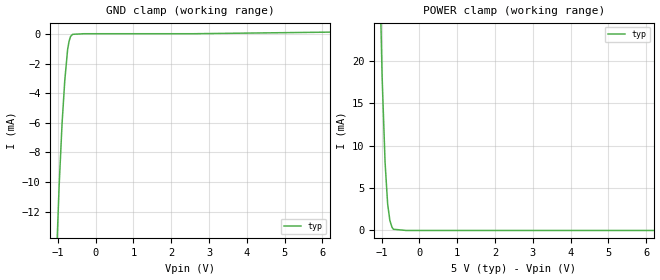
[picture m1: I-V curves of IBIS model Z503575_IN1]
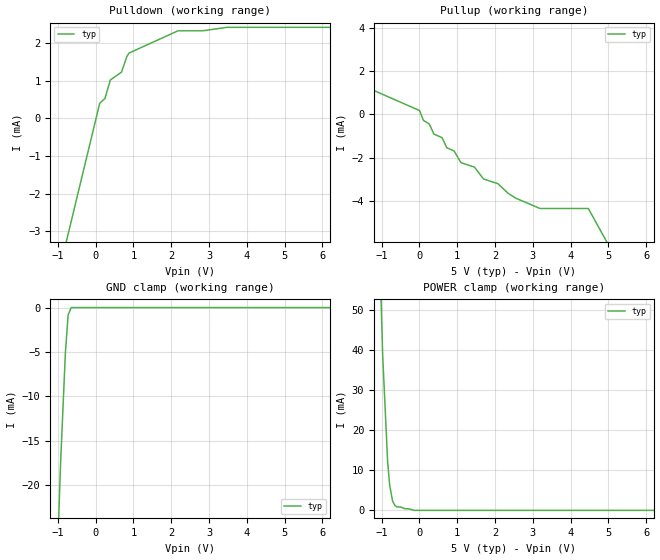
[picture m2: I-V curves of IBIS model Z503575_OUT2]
| YOU ARE ONLY AUTHORIZED TO USE THIS SOFTWARE
| ACCORDING TO LICENSOR'S LICENSE RESTRICTIONS.
[IBIS Ver] 3.1
[File Name] mc14081bd.ibs
[File Rev] 2.0
[Source] Measured and created by ICX Technology
[Date] Friday 7/14/00 9:07:53 AM
[Copyright]
| (C) COPYRIGHT 1993-2000
| MENTOR GRAPHICS CORPORATION
| ICX STANDARD LIBRARY, ICX PROJECT MODELING,
| ICX CUSTOM MODELING, ICX VENDOR MODEL
| ALL RIGHTS RESERVED.
| THE FOLLOWING ARE TRADEMARKS OR SERVICE MARKS OF
| MENTOR GRAPHICS CORPORATION:ICX (R), ICX STANDARD
| LIBRARY(R), ICX PROJECT MODELING(R), ICX CUSTOM
| MODELING(R), qualityIBIS(TM), MODELVIEWER(TM),
| AND MODELEDITOR(TM)
| ALL COPIES OF SOFTWARE, INCLUDING BUT NOT LIMITED TO
| ANY MODIFICATIONS, ENHANCEMENTS OR DERIVATIVE WORKS,
| MUST CONTAIN ALL MENTOR GRAPHICS CORPORATION'S
| NOTICES AND LEGENDS, INCLUDING THOSE EMBEDDED IN
| SOFTWARE AND THOSE AFFIXED TO SOFTWARE MEDIUM
| AND CONTAINER, AS RECEIVED FROM MENTOR GRAPHICS
| CORPORATION.
|  ZAP Model Builder 2.7
[Component] MC14081BD
[Manufacturer] OnSemiconductor
[Package]
| variable   typ   min   max
R_pkg  .155ohms NA NA
L_pkg  3.028nH NA NA
C_pkg  .381pF NA NA
[Pin] signal_name  model_name  R_pin  L_pin C_pin
1 IN1A Z503575_IN1 .16 3.587n .407p
2 IN2A Z503575_IN1 .156 3.147n .387p
3 OUTA Z503575_OUT2 .152 2.717n .367p
4 OUTB Z503575_OUT2 .148 2.297n .347p
5 IN1B Z503575_IN1 .152 2.717n .367p
6 IN2B Z503575_IN1 .156 3.147n .387p
7 VSS POWER .16 3.587n .407p
8 IN1C Z503575_IN1 .16 3.587n .407p
9 IN2C Z503575_IN1 .156 3.147n .387p
10 OUTC Z503575_OUT2 .152 2.717n .367p
11 OUTD Z503575_OUT2 .148 2.297n .347p
12 IN1D Z503575_IN1 .152 2.717n .367p
13 IN2D Z503575_IN1 .156 3.147n .387p
14 VDD POWER .16 3.587n .407p
| Models and submodels in the file (2): Z503575_IN1 (Input), Z503575_OUT2 (Output)
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| (C) COPYRIGHT 1993-2000
| MENTOR GRAPHICS CORPORATION
| ICX STANDARD LIBRARY, ICX PROJECT MODELING,
| ICX CUSTOM MODELING, ICX VENDOR MODEL
| ALL RIGHTS RESERVED.
| THE FOLLOWING ARE TRADEMARKS OR SERVICE MARKS OF
| MENTOR GRAPHICS CORPORATION:ICX (R), ICX STANDARD
| LIBRARY(R), ICX PROJECT MODELING(R), ICX CUSTOM
| MODELING(R), qualityIBIS(TM), MODELVIEWER(TM),
| AND MODELEDITOR(TM)
| ALL COPIES OF SOFTWARE, INCLUDING BUT NOT LIMITED TO
| ANY MODIFICATIONS, ENHANCEMENTS OR DERIVATIVE WORKS,
| MUST CONTAIN ALL MENTOR GRAPHICS CORPORATION'S
| NOTICES AND LEGENDS, INCLUDING THOSE EMBEDDED IN
| SOFTWARE AND THOSE AFFIXED TO SOFTWARE MEDIUM
| AND CONTAINER, AS RECEIVED FROM MENTOR GRAPHICS
| CORPORATION.
| Model Application Version 1.89 2/18/99.
[Model] Z503575_IN1
Model_type Input
Vinl = 1.500V
Vinh = 3.500V
C_comp 4.000pF NA NA
| variable typ   min   max
[Voltage Range] 5.000V NA NA
[GND Clamp Reference] 0.000V NA NA
[POWER Clamp Reference] 5.000V NA NA
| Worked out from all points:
|   GND clamp passes 1 mA (typ) near -0.74 V on its own axis
|   POWER clamp passes 1 mA (typ) near -0.77 V on its own axis
[GND Clamp]
-5V       -395.3mA   NA         NA
-1.094V   -19.11mA   NA         NA
-964.7mV  -10.21mA   NA         NA
-888.7mV  -6.068mA   NA         NA
-816.1mV  -3.133mA   NA         NA
-741.7mV  -1.056mA   NA         NA
-703.1mV  -495.8uA   NA         NA
-664.4mV  -176.1uA   NA         NA
-610.4mV  -25.19uA   NA         NA
-305.2mV  14.72uA    NA         NA
2.572V    14.72uA    NA         NA
10V       236.4uA    NA         NA
[POWER Clamp]
-5V       812.6mA    NA         NA
-986mV    18.16mA    NA         NA
-908mV    8.057mA    NA         NA
-840mV    3.131mA    NA         NA
-781mV    1.179mA    NA         NA
-726mV    398.9uA    NA         NA
-689mV    142.8uA    NA         NA
-344.5mV  0A         NA         NA
10V       0A         NA         NA
| (C) COPYRIGHT 1993-2000
| MENTOR GRAPHICS CORPORATION
| ICX STANDARD LIBRARY, ICX PROJECT MODELING,
| ICX CUSTOM MODELING, ICX VENDOR MODEL
| ALL RIGHTS RESERVED.
| THE FOLLOWING ARE TRADEMARKS OR SERVICE MARKS OF
| MENTOR GRAPHICS CORPORATION:ICX (R), ICX STANDARD
| LIBRARY(R), ICX PROJECT MODELING(R), ICX CUSTOM
| MODELING(R), qualityIBIS(TM), MODELVIEWER(TM),
| AND MODELEDITOR(TM)
| ALL COPIES OF SOFTWARE, INCLUDING BUT NOT LIMITED TO
| ANY MODIFICATIONS, ENHANCEMENTS OR DERIVATIVE WORKS,
| MUST CONTAIN ALL MENTOR GRAPHICS CORPORATION'S
| NOTICES AND LEGENDS, INCLUDING THOSE EMBEDDED IN
| SOFTWARE AND THOSE AFFIXED TO SOFTWARE MEDIUM
| AND CONTAINER, AS RECEIVED FROM MENTOR GRAPHICS
| CORPORATION.
| Model Application Version 1.89 2/18/99.
[Model] Z503575_OUT2
Model_type Output
Vref=0.000V
Rref=500.0Mohms
Cref=50.00pF
Vmeas=2.500V
C_comp 8.000pF NA NA
| variable typ   min   max
[Voltage Range] 5.000V NA NA
[POWER Clamp Reference] 5.000V NA NA
[Pullup Reference] 5.000V NA NA
[Pulldown Reference] 0.000V NA NA
[GND Clamp Reference] 0.000V NA NA
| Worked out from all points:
|   slope of the pulldown table from 0 to 0.75 V, typ, clamps not added: 510 ohm
|   slope of the pullup table from 0 to 0.75 V, typ, clamps not added: 432 ohm
|   GND clamp passes 1 mA (typ) near -0.73 V on its own axis
|   POWER clamp passes 1 mA (typ) near -0.61 V on its own axis
[GND Clamp]
-5V       -691mA     NA         NA
-1.103V   -39.29mA   NA         NA
-927.6mV  -17.55mA   NA         NA
-800.7mV  -5.116mA   NA         NA
-727.5mV  -831uA     NA         NA
-646.7mV  0A         NA         NA
10V       0A         NA         NA
[Pulldown]
-5V       -20.9mA    NA         NA
107.1mV   402uA      NA         NA
245.9mV   531uA      NA         NA
389.9mV   1.025mA    NA         NA
683.6mV   1.231mA    NA         NA
825.2mV   1.646mA    NA         NA
883.7mV   1.74mA     NA         NA
2.178V    2.332mA    NA         NA
2.828V    2.332mA    NA         NA
3.478V    2.425mA    NA         NA
10V       2.425mA    NA         NA
[Pullup]
-5V       4.006mA    NA         NA
5mV       179.1uA    NA         NA
382mV     -900.4uA   NA         NA
601mV     -1.072mA   NA         NA
723mV     -1.531mA   NA         NA
922mV     -1.689mA   NA         NA
1.097V    -2.218mA   NA         NA
1.456V    -2.424mA   NA         NA
2.552V    -3.858mA   NA         NA
3.191V    -4.331mA   NA         NA
4.469V    -4.331mA   NA         NA
10V       -21.74mA   NA         NA
[POWER Clamp]
-5V       1.533A     NA         NA
-1.162V   101.7mA    NA         NA
-972mV    38.98mA    NA         NA
-840mV    12.13mA    NA         NA
-786mV    6.283mA    NA         NA
-709mV    2.32mA     NA         NA
-653mV    1.279mA    NA         NA
-596mV    864.4uA    NA         NA
-493mV    827.1uA    NA         NA
-396mV    434.8uA    NA         NA
-136.5mV  0A         NA         NA
10V       0A         NA         NA
[Ramp]
| variable typ min max
dV/dt_r 2.470/12.61n NA NA
dV/dt_f 2.470/10.71n NA NA
R_load = 2.500kOhms
